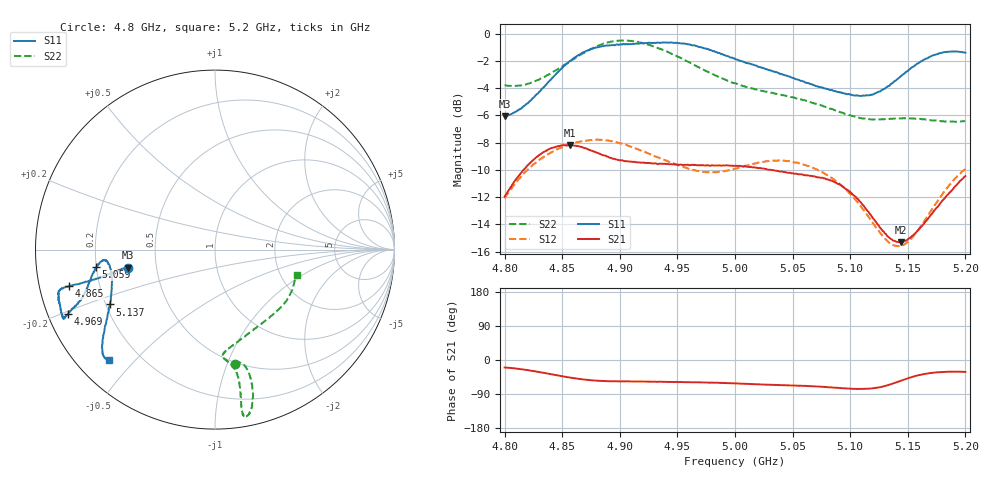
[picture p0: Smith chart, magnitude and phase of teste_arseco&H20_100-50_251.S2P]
! Network Analyzer HP8722D
! Hewlett-Packard
! Data name: Linha & Wilkinson
! Saver's name: Rodrigo Anjos
! Comments: Teste da utilização de aquisição
! continua pelo VNA HP8722D
! Time and date: 6/5/2025 14:39
!  Frequency  S11  S21  S12  S22
# HZ  S  MA R 50
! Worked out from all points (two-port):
!   401 points, 4.8 GHz to 5.2 GHz, reference 50 ohm
!   highest |S21| = -8.17 dB at 4.857 GHz (marker M1); lowest = -15.3 dB at 5.144 GHz (marker M2)
!   |S21| within 3 dB of the highest: 4.806 GHz to 5.093 GHz (286.7 MHz wide, 5.79 % of centre); 5.191559 GHz to end of sweep
!   lowest |S11| = -6.1 dB at 4.8 GHz (marker M3), VSWR 2.98, Z = 16.9 - j4.55 ohm
!   |S11| at or under -10 dB: nowhere
!   |S22| runs from -6.5 to -0.5 dB; largest |S21 - S12| = 0.62
!   S11 on the Smith chart (normalised r, x): 4.8 GHz: 0.34, -0.09; 4.865 GHz: 0.09, -0.12; 4.969 GHz: 0.06, -0.21; 5.059 GHz: 0.20, -0.07; 5.137 GHz: 0.22, -0.23; 5.2 GHz: 0.09, -0.42
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4.8e9  0.4972 -168.3  0.2521 -19.8  0.2487 -140.9  0.6476 -80.3
4.829e9  0.6039 -167.0  0.3553 -31.2  0.3411 -145.1  0.6768 -75.2
4.857e9  0.7955 -165.9  0.3903 -46.5  0.3926 -150.2  0.7922 -74.8
4.865e9  0.8383 -165.9  0.3855 -50.0  0.4013 -151.8  0.8329 -75.2
4.867e9  0.848 -165.9  0.384 -50.8  0.4028 -152.1  0.8428 -75.5
4.883e9  0.8963 -165.1  0.3618 -55.1  0.4079 -154.8  0.9092 -77.2
4.9e9  0.913 -162.6  0.343 -56.4  0.3956 -156.6  0.9434 -79.2
4.934e9  0.9266 -156.4  0.333 -57.5  0.3506 -155.7  0.8828 -80.5
4.969e9  0.8929 -156.4  0.3284 -59.1  0.3126 -147.4  0.752 -79.7
5e9  0.808 -159.1  0.3271 -61.8  0.3197 -137.2  0.6574 -81.3
5.035e9  0.7231 -165.4  0.3141 -65.8  0.3422 -134.4  0.6023 -85.6
5.059e9  0.6688 -171.6  0.3036 -68.1  0.3314 -136.1  0.5708 -84.4
5.067e9  0.6516 -173.0  0.3004 -69.2  0.3229 -136.8  0.5573 -82.6
5.086e9  0.617 -174.5  0.2856 -72.9  0.2913 -138.4  0.5247 -75.4
5.103e9  0.5941 -171.5  0.2549 -76.1  0.2499 -138.7  0.4974 -65.3
5.117e9  0.5947 -165.0  0.218 -75.5  0.2093 -135.1  0.4853 -55.1
5.134e9  0.6442 -154.3  0.1781 -65.2  0.1706 -120.7  0.4862 -43.4
5.137e9  0.6603 -152.4  0.1741 -62.2  0.1674 -116.8  0.4877 -41.5
5.144e9  0.6995 -148.8  0.1714 -54.6  0.166 -107.5  0.4891 -37.5
5.155e9  0.7578 -144.3  0.1826 -43.6  0.1806 -93.9  0.4882 -31.9
5.173e9  0.8357 -138.8  0.2244 -33.2  0.2328 -80.7  0.4808 -24.3
5.2e9  0.8524 -133.7  0.3002 -31.5  0.3193 -76.9  0.4768 -17.6
